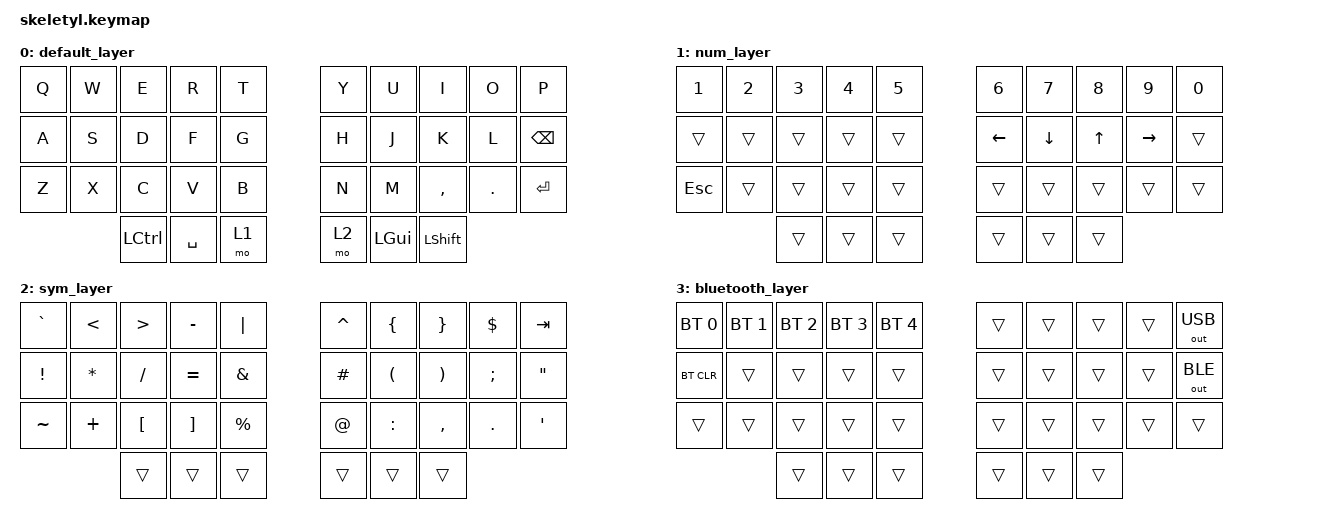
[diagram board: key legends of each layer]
#include <behaviors.dtsi>
#include <dt-bindings/zmk/keys.h>
#include <dt-bindings/zmk/bt.h>
#include <dt-bindings/zmk/outputs.h>

/ {
    conditional_layers {
      compatible = "zmk,conditional-layers";
      tri_layer {
        if-layers = <1 2>;
        then-layer = <3>;
      };
    };

    keymap {
        compatible = "zmk,keymap";

        default_layer {
            bindings = <
                &kp Q   &kp W   &kp E   &kp R   &kp T         &kp Y   &kp U   &kp I   &kp O   &kp P
                &kp A   &kp S   &kp D   &kp F   &kp G         &kp H   &kp J   &kp K   &kp L   &kp BSPC
                &kp Z   &kp X   &kp C   &kp V   &kp B         &kp N   &kp M   &kp COMMA   &kp DOT   &kp RET
                            &kp LCTRL &kp SPACE &mo 1         &mo 2   &kp LGUI &kp LSHIFT
            >;
        };

        num_layer {
            bindings = <
                &kp N1  &kp N2  &kp N3  &kp N4  &kp N5        &kp N6  &kp N7  &kp N8  &kp N9  &kp N0
                &trans  &trans  &trans  &trans  &trans        &kp LEFT  &kp DOWN  &kp UP  &kp RIGHT  &trans
                &kp ESC &trans  &trans  &trans  &trans        &trans  &trans  &trans  &trans  &trans
                                &trans  &trans  &trans        &trans  &trans  &trans
            >;
        };

        sym_layer {
            bindings = <
                &kp GRAVE &kp LT    &kp GT    &kp MINUS &kp PIPE        &kp CARET &kp LBRC  &kp RBRC  &kp DLLR  &kp TAB
                &kp EXCL  &kp STAR  &kp SLASH &kp EQUAL &kp AMPS        &kp HASH  &kp LPAR  &kp RPAR  &kp SEMI  &kp DQT
                &kp TILDE &kp PLUS  &kp LBKT  &kp RBKT  &kp PRCNT       &kp AT    &kp COLON &kp COMMA &kp DOT   &kp SQT
                                    &trans    &trans    &trans          &trans    &trans    &trans
            >;
        };

        bluetooth_layer {
            bindings = <
                &bt BT_SEL 0 &bt BT_SEL 1 &bt BT_SEL 2 &bt BT_SEL 3 &bt BT_SEL 4      &trans  &trans  &trans  &trans  &out OUT_USB
                &bt BT_CLR &trans  &trans  &trans  &trans                             &trans  &trans  &trans  &trans  &out OUT_BLE
                &trans  &trans  &trans  &trans  &trans                                &trans  &trans  &trans  &trans  &trans
                                &trans  &trans  &trans                                &trans  &trans  &trans
            >;
        };
    };
};


